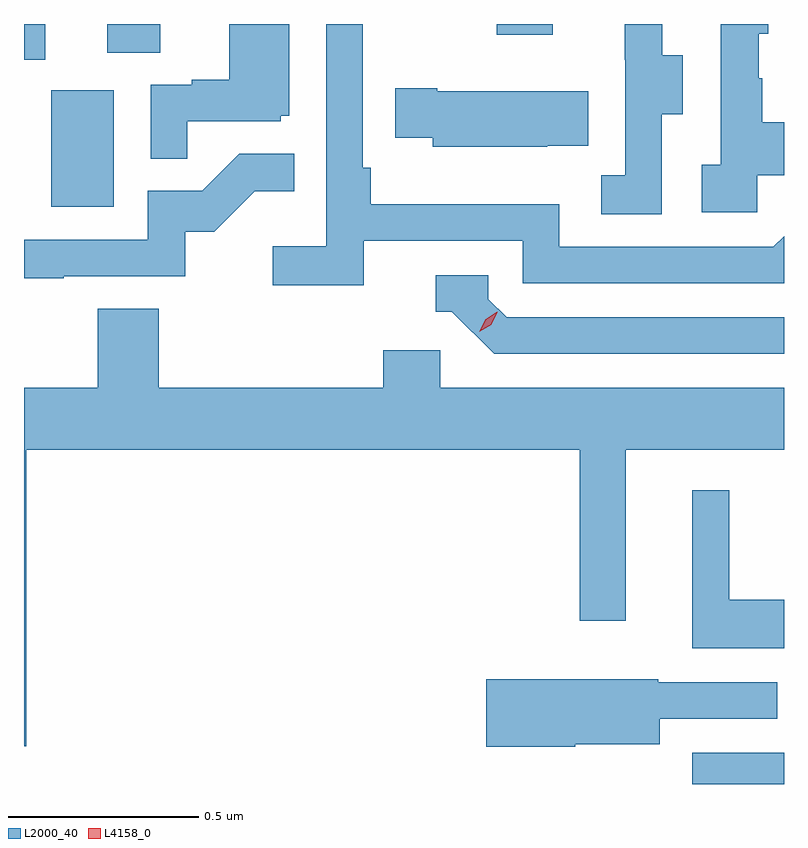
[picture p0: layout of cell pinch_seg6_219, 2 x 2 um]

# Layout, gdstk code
import gdstk
lib = gdstk.Library(unit=1e-6, precision=1e-09)
def R(c, l, rs):  # rectangles x0, y0, x1, y1
    for r in rs: c.add(gdstk.rectangle(r[:2], r[2:], *l))
def P(c, l, *ps):  # polygons
    for p in ps: c.add(gdstk.Polygon(p, *l))
L2000_40 = (2000, 40)
L4158_0 = (4158, 0)

pinch_seg6_219 = lib.new_cell('pinch_seg6_219')
R(pinch_seg6_219, L2000_40, [(1033.028,918.485,1033.27,918.567), (1031.342,920.004,1031.506,920.311), (1031.27,920.391,1031.326,920.485), (1031.489,920.41,1031.629,920.485), (1032.514,920.457,1032.661,920.485)])
P(pinch_seg6_219, L2000_40, [(1031.699,920.229),(1031.946,920.229),(1031.946,920.244),(1031.968,920.244),(1031.968,920.485),(1031.81,920.485),(1031.81,920.338),(1031.711,920.338),(1031.711,920.325),(1031.604,920.325),(1031.604,920.131),(1031.699,920.131)],
  [(1032.164,919.914),(1032.582,919.914),(1032.582,919.803),(1033.27,919.803),(1033.27,919.927),(1033.242,919.899),(1032.678,919.899),(1032.678,920.011),(1032.182,920.011),(1032.182,920.107),(1032.162,920.107),(1032.162,920.485),(1032.066,920.485),(1032.066,919.9),(1031.925,919.9),(1031.925,919.798),(1032.164,919.798)],
  [(1033.2,920.087),(1033.27,920.087),(1033.27,920.227),(1033.213,920.227),(1033.213,920.342),(1033.203,920.342),(1033.203,920.46),(1033.228,920.46),(1033.228,920.485),(1033.104,920.485),(1033.104,920.114),(1033.053,920.114),(1033.053,919.989),(1033.2,919.989)],
  [(1032.948,920.248),(1033.003,920.248),(1033.003,920.403),(1032.949,920.403),(1032.949,920.485),(1032.851,920.485),(1032.851,920.391),(1032.852,920.391),(1032.852,920.087),(1032.789,920.087),(1032.789,919.984),(1032.948,919.984)],
  [(1032.647,920.165),(1032.755,920.165),(1032.755,920.308),(1032.358,920.308),(1032.358,920.316),(1032.247,920.316),(1032.247,920.186),(1032.345,920.186),(1032.345,920.162),(1032.647,920.162)],
  [(1031.375,919.821),(1031.694,919.821),(1031.694,919.938),(1031.77,919.938),(1031.877,920.045),(1031.981,920.045),(1031.981,920.144),(1031.837,920.144),(1031.739,920.046),(1031.595,920.046),(1031.595,919.917),(1031.27,919.917),(1031.27,919.816),(1031.375,919.816)],
  [(1033.27,919.713),(1032.54,919.713),(1032.492,919.761),(1032.492,919.824),(1032.353,919.824),(1032.353,919.728),(1032.396,919.728),(1032.507,919.617),(1033.27,919.617)],
  [(1031.276,919.364),(1032.732,919.364),(1032.732,918.915),(1032.853,918.915),(1032.853,919.364),(1033.27,919.364),(1033.27,919.528),(1032.366,919.528),(1032.366,919.626),(1032.215,919.626),(1032.215,919.528),(1031.624,919.528),(1031.624,919.736),(1031.464,919.736),(1031.464,919.528),(1031.27,919.528),(1031.27,918.585),(1031.276,918.585)],
  [(1033.27,918.97),(1033.126,918.97),(1033.126,919.258),(1033.028,919.258),(1033.028,918.842),(1033.27,918.842)],
  [(1032.72,918.59),(1032.943,918.59),(1032.943,918.657),(1033.252,918.657),(1033.252,918.753),(1032.939,918.753),(1032.939,918.761),(1032.486,918.761),(1032.486,918.583),(1032.72,918.583)])
P(pinch_seg6_219, L4158_0, [(1032.468,919.675),(1032.468,919.675),(1032.485,919.708),(1032.516,919.728),(1032.516,919.728),(1032.516,919.727),(1032.5,919.694),(1032.468,919.675)])

lib.write_gds('pinch_seg6_219.gds')
